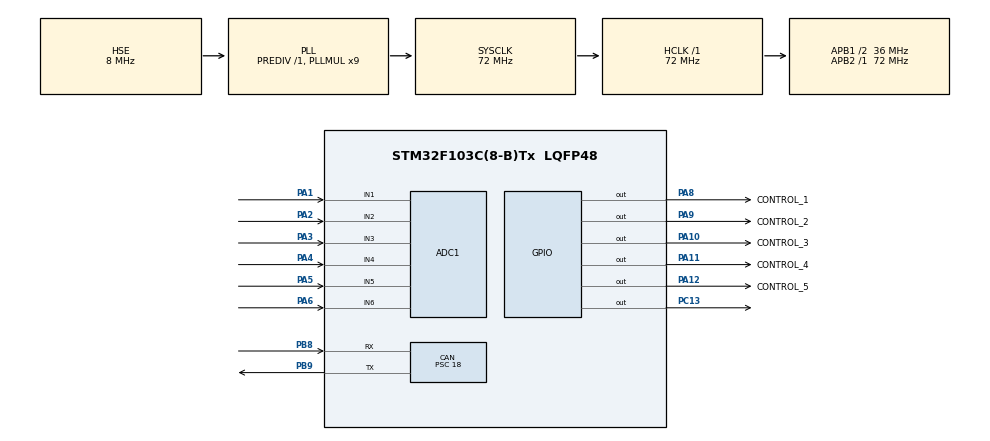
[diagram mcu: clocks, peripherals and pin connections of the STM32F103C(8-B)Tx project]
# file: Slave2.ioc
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ADC1.Channel-2\#ChannelRegularConversion=ADC_CHANNEL_1
ADC1.Channel-3\#ChannelRegularConversion=ADC_CHANNEL_2
ADC1.Channel-4\#ChannelRegularConversion=ADC_CHANNEL_3
ADC1.Channel-5\#ChannelRegularConversion=ADC_CHANNEL_4
ADC1.Channel-6\#ChannelRegularConversion=ADC_CHANNEL_5
ADC1.Channel-7\#ChannelRegularConversion=ADC_CHANNEL_6
ADC1.ContinuousConvMode=ENABLE
ADC1.NbrOfConversion=6
ADC1.NbrOfConversionFlag=1
ADC1.Rank-2\#ChannelRegularConversion=1
ADC1.Rank-3\#ChannelRegularConversion=2
ADC1.Rank-4\#ChannelRegularConversion=3
ADC1.Rank-5\#ChannelRegularConversion=4
ADC1.Rank-6\#ChannelRegularConversion=5
ADC1.Rank-7\#ChannelRegularConversion=6
ADC1.SamplingTime-2\#ChannelRegularConversion=ADC_SAMPLETIME_239CYCLES_5
ADC1.SamplingTime-3\#ChannelRegularConversion=ADC_SAMPLETIME_239CYCLES_5
ADC1.SamplingTime-4\#ChannelRegularConversion=ADC_SAMPLETIME_239CYCLES_5
ADC1.SamplingTime-5\#ChannelRegularConversion=ADC_SAMPLETIME_239CYCLES_5
ADC1.SamplingTime-6\#ChannelRegularConversion=ADC_SAMPLETIME_239CYCLES_5
ADC1.SamplingTime-7\#ChannelRegularConversion=ADC_SAMPLETIME_239CYCLES_5
ADC1.master=1
CAN.ABOM=ENABLE
CAN.BS1=CAN_BS1_13TQ
CAN.BS2=CAN_BS2_2TQ
CAN.CalculateBaudRate=125000
CAN.CalculateTimeBit=8000
CAN.CalculateTimeQuantum=500.0
CAN.NART=ENABLE
CAN.Prescaler=18
Dma.ADC1.0.Direction=DMA_PERIPH_TO_MEMORY
Dma.ADC1.0.Instance=DMA1_Channel1
Dma.ADC1.0.MemDataAlignment=DMA_MDATAALIGN_HALFWORD
Dma.ADC1.0.MemInc=DMA_MINC_ENABLE
Dma.ADC1.0.Mode=DMA_CIRCULAR
Dma.ADC1.0.PeriphDataAlignment=DMA_PDATAALIGN_HALFWORD
Dma.ADC1.0.PeriphInc=DMA_PINC_DISABLE
Dma.ADC1.0.Priority=DMA_PRIORITY_LOW
Dma.Request0=ADC1
Mcu.Family=STM32F1
Mcu.Name=STM32F103C(8-B)Tx
Mcu.Package=LQFP48
NVIC.DMA1_Channel1_IRQn=true\:0\:0\:false\:false\:true\:false\:true\:true
NVIC.PriorityGroup=NVIC_PRIORITYGROUP_4
NVIC.TIM2_IRQn=true\:0\:0\:false\:false\:true\:true\:true\:true
NVIC.USB_LP_CAN1_RX0_IRQn=true\:0\:0\:false\:false\:true\:true\:true\:true
PA1.Signal=ADCx_IN1
PA10.GPIO_Label=CONTROL_3
PA10.GPIO_PuPd=GPIO_NOPULL
PA10.Signal=GPIO_Output
PA11.GPIO_Label=CONTROL_4
PA11.GPIO_PuPd=GPIO_NOPULL
PA11.Signal=GPIO_Output
PA12.GPIO_Label=CONTROL_5
PA12.GPIO_PuPd=GPIO_NOPULL
PA12.Signal=GPIO_Output
PA13.Mode=Serial_Wire
PA13.Signal=SYS_JTMS-SWDIO
PA14.Mode=Serial_Wire
PA14.Signal=SYS_JTCK-SWCLK
PA2.Signal=ADCx_IN2
PA3.Signal=ADCx_IN3
PA4.Signal=ADCx_IN4
PA5.Signal=ADCx_IN5
PA6.Signal=ADCx_IN6
PA8.GPIO_Label=CONTROL_1
PA8.GPIO_PuPd=GPIO_NOPULL
PA8.Signal=GPIO_Output
PA9.GPIO_Label=CONTROL_2
PA9.GPIO_PuPd=GPIO_NOPULL
PA9.Signal=GPIO_Output
PB8.Mode=CAN_Activate
PB8.Signal=CAN_RX
PB9.Mode=CAN_Activate
PB9.Signal=CAN_TX
PC13-TAMPER-RTC.Signal=GPIO_Output
PD0-OSC_IN.Mode=HSE-External-Oscillator
PD0-OSC_IN.Signal=RCC_OSC_IN
PD1-OSC_OUT.Mode=HSE-External-Oscillator
PD1-OSC_OUT.Signal=RCC_OSC_OUT
ProjectManager.HeapSize=0x200
ProjectManager.StackSize=0x400
ProjectManager.TargetToolchain=MDK-ARM V5.32
RCC.ADCPresc=RCC_ADCPCLK2_DIV6
RCC.AHBFreq_Value=72000000
RCC.APB1CLKDivider=RCC_HCLK_DIV2
RCC.APB1Freq_Value=36000000
RCC.APB1TimFreq_Value=72000000
RCC.APB2Freq_Value=72000000
RCC.APB2TimFreq_Value=72000000
RCC.HCLKFreq_Value=72000000
RCC.PLLMUL=RCC_PLL_MUL9
RCC.PLLSourceVirtual=RCC_PLLSOURCE_HSE
RCC.SYSCLKFreq_VALUE=72000000
RCC.SYSCLKSource=RCC_SYSCLKSOURCE_PLLCLK
RCC.USBFreq_Value=72000000
SH.ADCx_IN1.0=ADC1_IN1,IN1
SH.ADCx_IN2.0=ADC1_IN2,IN2
SH.ADCx_IN3.0=ADC1_IN3,IN3
SH.ADCx_IN4.0=ADC1_IN4,IN4
SH.ADCx_IN5.0=ADC1_IN5,IN5
SH.ADCx_IN6.0=ADC1_IN6,IN6
TIM2.Period=199
TIM2.Prescaler=7199
VP_TIM2_VS_ClockSourceINT.Mode=Internal
board=custom

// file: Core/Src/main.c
/* USER CODE BEGIN Header */
/**
  ******************************************************************************
  * @file           : main.c
  * @brief          : Main program body
  ******************************************************************************
  * @attention
  *
  * Copyright (c) 2026 STMicroelectronics.
  * All rights reserved.
  *
  * This software is licensed under terms that can be found in the LICENSE file
  * in the root directory of this software component.
  * If no LICENSE file comes with this software, it is provided AS-IS.
  *
  ******************************************************************************
  */
/* USER CODE END Header */
#include "main.h"

/* USER CODE BEGIN Includes */
#include "math.h"

/* USER CODE END Includes */

/* USER CODE BEGIN PD */

#define CAN_ID_SLAVE1_TX        0x101U
#define CAN_ID_SLAVE2_TX        0x102U
#define CAN_ID_SLAVE3_TX        0x103U
#define CAN_ID_SLAVE1_RX        0x200U
#define CAN_ID_SLAVE2_RX        0x201U
#define CAN_ID_SLAVE3_RX        0x202U

/* USER CODE END PD */

ADC_HandleTypeDef hadc1;
DMA_HandleTypeDef hdma_adc1;

CAN_HandleTypeDef hcan;

TIM_HandleTypeDef htim2;

/* USER CODE BEGIN PV */

volatile uint8_t balance_mask = 0x00;

volatile uint16_t adc_val[7];
volatile uint8_t  adc_ready = 0;
volatile uint8_t  tim_flag  = 0;

float    temperature  = 0.0f;
uint32_t ntc_ema      = 0;
uint8_t  ntc_ema_init = 0;

uint16_t adc_buf[7];

uint16_t voltage_mV[5];
uint16_t tapVolt[5];

uint8_t bal_state[5] = {0};
uint8_t temp_cutoff  = 0;

CAN_TxHeaderTypeDef TxHeader;
uint32_t            TxMailbox;
uint8_t             TxData[8];

volatile uint32_t tx_count = 0;
volatile uint32_t can_error = 0;
volatile uint8_t  balance_enable = 1;

CAN_FilterTypeDef sFilterConfig;
CAN_RxHeaderTypeDef RxHeader;
uint8_t RxData[8];

/* CAN diagnostics */
volatile uint32_t rx_count             = 0;
volatile uint32_t error_callback_count = 0;
volatile uint8_t  last_rx_id           = 0;
volatile uint8_t  last_rx_dlc          = 0;
uint8_t           last_rx_data[8]      = {0};

uint16_t voltage_mV_f[5]  = {0};

// Per-cell calibration factors (real / measured).
// These were computed from a one-shot calibration and can be adjusted.
// Cell order: 1..5
// Updated cell 1 calibration: actual 4011mV / measured 4015mV
// Computed factor = 4011.0 / 4015.0 = 0.99900348
// Updated cell 2 calibration: actual 3992mV / measured 3975mV
// Computed factor = 3992.0 / 3975.0 = 1.004278
/* Per-cell calibration factors (real / measured) - cell1 updated from measurement */
/* Reset calibration factors to 1.0 for re-calibration start */
//float calib_factor[5] = {1.0183592f, 0.9952328f, 1.2535311f, 0.9963514f, 1.1682028f};
//////float calib_factor[5] = {1.0f, 0.990429342f, 0.969185412f, 0.991242468f, 1.02840102f};
float calib_factor[5] = {0.997676849f, 0.991999984f, 0.972432971f, 0.99048841f, 1.02329278f};

/* calibration/results storage */

/* ADC / divider constants */
#define ADC_MAX_VALUE        4095u
#define ADC_CHANNEL_COUNT    7u
#define CELL_COUNT           5u
#define ADC_FILTER_SHIFT     4u
#define CELL_FILTER_SHIFT    3u
#define SAMPLE_SKIP          4u
static uint16_t last_avg_adc[CELL_COUNT] = {0};
static uint8_t adc_filter_initialized = 0u;
static uint8_t cell_filter_initialized = 0u;
static uint16_t sample_skip_idx = 0;
static uint32_t adc_vdda_mv = 3300u;
static const uint32_t VREFINT_MV = 1200u;

/* Divider resistor values in ohms for each tap (R1 = top resistor, R2 = bottom to GND)
  Tap 1 = top of cell1, Tap 2 = top of cell2, ... Tap5 = top of cell5
  Values provided by hardware design */
static const uint32_t divider_R1[CELL_COUNT] = {100000u, 200000u, 300000u, 500000u, 860000u};
static const uint32_t divider_R2[CELL_COUNT] = {100000u, 100000u, 100000u, 100000u, 100000u};

/* USER CODE END PV */

void SystemClock_Config(void);
static void MX_GPIO_Init(void);
static void MX_DMA_Init(void);
static void MX_ADC1_Init(void);
static void MX_TIM2_Init(void);
static void MX_CAN_Init(void);

/* USER CODE BEGIN 0 */

/* Convert raw ADC value for a given tap index to tap voltage in mV */
static uint16_t adc_raw_to_tap_mv(uint16_t raw_adc, uint8_t tap_index)
{
  /* convert ADC code to measured millivolts
     use measured VREF to reduce systematic error */
  float v_adc_mv = ((float)raw_adc * (float)adc_vdda_mv) / (float)ADC_MAX_VALUE;

  /* divider multiplier = (R1 + R2) / R2 */
  float mult = ((float)divider_R1[tap_index] + (float)divider_R2[tap_index]) / (float)divider_R2[tap_index];

  float tap_mv = v_adc_mv * mult;
  if (tap_mv < 0.0f) tap_mv = 0.0f;
  if (tap_mv > 65535.0f) tap_mv = 65535.0f;
  return (uint16_t)(tap_mv + 0.5f);
}

static void update_adc_vdda_from_vrefint(uint16_t raw_vrefint)
{
  if (raw_vrefint == 0u)
    return;

  uint32_t new_vdda_mv = (uint32_t)(((uint64_t)VREFINT_MV * (uint64_t)ADC_MAX_VALUE) / (uint64_t)raw_vrefint);
  if (new_vdda_mv < 2500u || new_vdda_mv > 3600u)
    return;

  adc_vdda_mv = (adc_vdda_mv * 7u + new_vdda_mv) / 8u;
}

void HAL_ADC_ConvCpltCallback(ADC_HandleTypeDef* hadc)
{
    if (hadc->Instance == ADC1)
    {
        adc_ready = 1;
    }
}

void HAL_TIM_PeriodElapsedCallback(TIM_HandleTypeDef *htim)
{
    if (htim->Instance == TIM2)
        tim_flag = 1;
}

void calcCellVolt(void)
{
  /* compute tap voltages directly from raw ADC (mV) */
  for (uint8_t i = 0; i < CELL_COUNT; i++) {
    /* use averaged ADC value when available (otherwise 0 until filled) */
    uint16_t raw_adc = last_avg_adc[i];
    tapVolt[i] = adc_raw_to_tap_mv(raw_adc, i);
  }

  /* compute individual cell voltages by differencing consecutive taps */
  voltage_mV[0] = tapVolt[0];
  for (uint8_t i = 1; i < CELL_COUNT; i++) {
    if (tapVolt[i] > tapVolt[i - 1])
      voltage_mV[i] = tapVolt[i] - tapVolt[i - 1];
    else
      voltage_mV[i] = 0u;
  }

  /* apply calibration factors (currently 1.0) and saturate */
  for (uint8_t i = 0; i < CELL_COUNT; i++) {
    float scaled = (float)voltage_mV[i] * calib_factor[i];
    if (scaled < 0.0f) scaled = 0.0f;
    if (scaled > 65535.0f) scaled = 65535.0f;
    voltage_mV[i] = (uint16_t)(scaled + 0.5f);
  }
}

void filterVoltage(void)
{
  for (uint8_t i = 0; i < CELL_COUNT; i++) {
    if (voltage_mV[i] < 500u) {
      voltage_mV_f[i] = 0u;
      continue;
    }

    if (!cell_filter_initialized) {
      voltage_mV_f[i] = voltage_mV[i];
    } else {
      int32_t error = (int32_t)voltage_mV[i] - (int32_t)voltage_mV_f[i];
      voltage_mV_f[i] = (uint16_t)((int32_t)voltage_mV_f[i] + (error >> CELL_FILTER_SHIFT));
    }
  }
  cell_filter_initialized = 1u;
}

float NTC_GetTemperature(uint16_t adc_value)
{
    if(adc_value == 0 || adc_value >= 4095)
    {
        return -273.15f;
    }

    float vdda = (float)adc_vdda_mv / 1000.0f;
    float voltage = (float)adc_value * vdda / 4095.0f;
    float r_ntc = 10000.0f * (vdda - voltage) / voltage;

    float A = 0.001129148f;
    float B = 0.000234125f;
    float C = 0.0000000876741f;

    float lnR = logf(r_ntc);
    float temp_kelvin = 1.0f / (A + (B * lnR) + (C * lnR * lnR * lnR));

    return temp_kelvin - 273.15f;
}

void calcTemperature(void)
{
    uint16_t raw_ntc = adc_buf[5];
    if (raw_ntc == 0) return;

    static uint16_t median_buf[5] = {0};
    static uint8_t  median_idx    = 0;
    static uint8_t  median_full   = 0;

    median_buf[median_idx] = raw_ntc;
    median_idx = (median_idx + 1) % 5;
    if (median_idx == 0) median_full = 1;

    uint16_t sorted[5];
    uint8_t  count = median_full ? 5 : median_idx;
    for (int i = 0; i < count; i++)
        sorted[i] = median_buf[i];
    for (int i = 0; i < count - 1; i++)
        for (int j = 0; j < count - i - 1; j++)
            if (sorted[j] > sorted[j+1]) {
                uint16_t tmp = sorted[j];
                sorted[j]    = sorted[j+1];
                sorted[j+1]  = tmp;
            }
    uint16_t median_ntc = sorted[count / 2];

    if (!ntc_ema_init) {
        ntc_ema      = (uint32_t)median_ntc << 4;
        ntc_ema_init = 1;
        temperature  = NTC_GetTemperature(median_ntc);
        return;
    }

    uint16_t prev = (uint16_t)(ntc_ema >> 4);

		if (median_ntc < prev - 10) {
				ntc_ema = ntc_ema - (ntc_ema >> 2) + median_ntc;
		} else {
				ntc_ema = ntc_ema - (ntc_ema >> 4) + median_ntc;
		}
    uint16_t filtered_ntc = (uint16_t)(ntc_ema >> 4);
    temperature = NTC_GetTemperature(filtered_ntc);
}

void control_balance(void)
{
    const uint16_t control_PIN[5] = {
        GPIO_PIN_8, GPIO_PIN_9, GPIO_PIN_10,
        GPIO_PIN_11, GPIO_PIN_12
    };

    if (!temp_cutoff && temperature > 60.0f)
        temp_cutoff = 1;
    else if (temp_cutoff && temperature < 55.0f)
        temp_cutoff = 0;

    if (temp_cutoff || !balance_enable) {
        for (int i = 0; i < 5; i++) bal_state[i] = 0;
        HAL_GPIO_WritePin(GPIOA,
            GPIO_PIN_8|GPIO_PIN_9|GPIO_PIN_10|
            GPIO_PIN_11|GPIO_PIN_12, GPIO_PIN_RESET);
        return;
    }

    for (int i = 0; i < 5; i++) {
        uint8_t master_cmd = (balance_mask >> i) & 0x01;

        if (master_cmd)
            bal_state[i] = 1;
        else
            bal_state[i] = 0;

        HAL_GPIO_WritePin(GPIOA, control_PIN[i],
            bal_state[i] ? GPIO_PIN_SET : GPIO_PIN_RESET);
    }
}

void HAL_CAN_RxFifo0MsgPendingCallback(CAN_HandleTypeDef *hcan)
{
    HAL_CAN_GetRxMessage(hcan, CAN_RX_FIFO0, &RxHeader, RxData);
    rx_count++;
    can_error = HAL_CAN_GetError(hcan);
    last_rx_id  = RxHeader.StdId;
    last_rx_dlc = RxHeader.DLC;
    for (int i = 0; i < 8; i++) last_rx_data[i] = RxData[i];

    // Slave 2 command ID
    if (RxHeader.StdId == CAN_ID_SLAVE2_RX) {
        balance_enable = RxData[0] & 0x01;
        balance_mask   = RxData[1];
    }
    HAL_CAN_ActivateNotification(hcan, CAN_IT_RX_FIFO0_MSG_PENDING);
}

void HAL_CAN_ErrorCallback(CAN_HandleTypeDef *hcan)
{
    error_callback_count++;
    can_error = HAL_CAN_GetError(hcan);
}

/* USER CODE END 0 */

int main(void)
{

  /* MCU Configuration--------------------------------------------------------*/

  /* Reset of all peripherals, Initializes the Flash interface and the Systick. */
  HAL_Init();

  /* Configure the system clock */
  SystemClock_Config();

  /* Initialize all configured peripherals */
  MX_GPIO_Init();
  MX_DMA_Init();
  MX_ADC1_Init();
  MX_TIM2_Init();
  MX_CAN_Init();
  /* USER CODE BEGIN 2 */

  ADC1->CR2 |= ADC_CR2_TSVREFE;
  HAL_Delay(1);
  HAL_ADC_Start_DMA(&hadc1, (uint32_t*)adc_val, ADC_CHANNEL_COUNT);
	HAL_TIM_Base_Start_IT(&htim2);

	HAL_CAN_Start(&hcan);
	TxHeader.DLC   = 8;
	TxHeader.IDE   = CAN_ID_STD;
	TxHeader.RTR   = CAN_RTR_DATA;
  TxHeader.StdId = CAN_ID_SLAVE2_TX;

	sFilterConfig.FilterActivation     = CAN_FILTER_ENABLE;
	sFilterConfig.FilterFIFOAssignment = CAN_FILTER_FIFO0;
	sFilterConfig.FilterMode           = CAN_FILTERMODE_IDMASK;
  sFilterConfig.FilterIdHigh         = CAN_ID_SLAVE2_RX << 5;
	sFilterConfig.FilterIdLow          = 0;
	sFilterConfig.FilterMaskIdHigh     = 0x7FF << 5;
	sFilterConfig.FilterMaskIdLow      = 0;
	sFilterConfig.FilterScale          = CAN_FILTERSCALE_32BIT;
	sFilterConfig.FilterBank           = 0;
	HAL_CAN_ConfigFilter(&hcan, &sFilterConfig);
	HAL_CAN_ActivateNotification(&hcan, CAN_IT_RX_FIFO0_MSG_PENDING | CAN_IT_ERROR);

  /* USER CODE END 2 */

  /* Infinite loop */
  while (1)
  {

    /* USER CODE BEGIN 3 */
   if (adc_ready) {
    __disable_irq();
    for (int i = 0; i < ADC_CHANNEL_COUNT; i++)
        adc_buf[i] = adc_val[i];
    adc_ready = 0;
    __enable_irq();
  update_adc_vdda_from_vrefint(adc_buf[6]);
  /* Low-pass each tap continuously; unlike block averaging it cannot step. */
   sample_skip_idx = (sample_skip_idx + 1) % SAMPLE_SKIP;
   if (sample_skip_idx == 0) {
     for (uint8_t i = 0; i < CELL_COUNT; i++) {
       if (!adc_filter_initialized)
         last_avg_adc[i] = adc_buf[i];
       else
         last_avg_adc[i] = (uint16_t)((int32_t)last_avg_adc[i] +
             (((int32_t)adc_buf[i] - (int32_t)last_avg_adc[i]) >> ADC_FILTER_SHIFT));
     }
     adc_filter_initialized = 1u;
   }

  }

  if (tim_flag) {
    tim_flag = 0;

    calcTemperature();
    calcCellVolt();
    filterVoltage();
    control_balance();

    /* Two-frame CAN: Frame A contains 4 cells (u16 each), Frame B contains cell5 (u16),
       temperature in tenths (int16), mosfet mask (u8) and seq (u8) */
    static uint8_t seq = 0;
    uint8_t TxA[8];
    uint8_t TxB[6];

    /* Prepare cell values (mV) - use filtered calibrated values */
    uint16_t c[5];
    for (int i = 0; i < 5; i++) {
      c[i] = voltage_mV_f[i];
    }

    /* Frame A: cells 1..4 as little-endian uint16 */
    for (int i = 0; i < 4; i++) {
      TxA[2*i]   = (uint8_t)(c[i] & 0xFF);
      TxA[2*i+1] = (uint8_t)((c[i] >> 8) & 0xFF);
    }

    /* Transmit Frame A */
    TxHeader.DLC = 8;
    if (HAL_CAN_GetTxMailboxesFreeLevel(&hcan) == 0) {
      HAL_CAN_AbortTxRequest(&hcan, CAN_TX_MAILBOX0);
      HAL_CAN_AbortTxRequest(&hcan, CAN_TX_MAILBOX1);
      HAL_CAN_AbortTxRequest(&hcan, CAN_TX_MAILBOX2);
    }
    if (HAL_CAN_AddTxMessage(&hcan, &TxHeader, TxA, &TxMailbox) == HAL_OK)
      tx_count++;

    /* Frame B: cell5, temperature in tenths (int16), mask, seq */
    int16_t temp_tenths = 0;
    if (!isnan(temperature) && temperature > -1000.0f && temperature < 1000.0f)
      temp_tenths = (int16_t)(temperature * 10.0f + (temperature >= 0 ? 0.5f : -0.5f));

    TxB[0] = (uint8_t)(c[4] & 0xFF);
    TxB[1] = (uint8_t)((c[4] >> 8) & 0xFF);
    TxB[2] = (uint8_t)(temp_tenths & 0xFF);
    TxB[3] = (uint8_t)((temp_tenths >> 8) & 0xFF);
    uint8_t mosfet = 0;
    for (int i = 0; i < 5; i++) mosfet |= (bal_state[i] & 0x01) << i;
    TxB[4] = mosfet;
    TxB[5] = seq++;

    TxHeader.DLC = 6;
    if (HAL_CAN_GetTxMailboxesFreeLevel(&hcan) == 0) {
      HAL_CAN_AbortTxRequest(&hcan, CAN_TX_MAILBOX0);
      HAL_CAN_AbortTxRequest(&hcan, CAN_TX_MAILBOX1);
      HAL_CAN_AbortTxRequest(&hcan, CAN_TX_MAILBOX2);
    }
    if (HAL_CAN_AddTxMessage(&hcan, &TxHeader, TxB, &TxMailbox) == HAL_OK)
      tx_count++;

    can_error = HAL_CAN_GetError(&hcan);
    HAL_GPIO_TogglePin(GPIOC, GPIO_PIN_13);

    if (can_error & HAL_CAN_ERROR_BOF) {
      HAL_CAN_Stop(&hcan);
      HAL_CAN_Start(&hcan);
    }
}
}
  /* USER CODE END 3 */
}

void SystemClock_Config(void)
{
  RCC_OscInitTypeDef RCC_OscInitStruct = {0};
  RCC_ClkInitTypeDef RCC_ClkInitStruct = {0};
  RCC_PeriphCLKInitTypeDef PeriphClkInit = {0};

  /** Initializes the RCC Oscillators according to the specified parameters
  * in the RCC_OscInitTypeDef structure.
  */
  RCC_OscInitStruct.OscillatorType = RCC_OSCILLATORTYPE_HSE;
  RCC_OscInitStruct.HSEState = RCC_HSE_ON;
  RCC_OscInitStruct.HSEPredivValue = RCC_HSE_PREDIV_DIV1;
  RCC_OscInitStruct.HSIState = RCC_HSI_ON;
  RCC_OscInitStruct.PLL.PLLState = RCC_PLL_ON;
  RCC_OscInitStruct.PLL.PLLSource = RCC_PLLSOURCE_HSE;
  RCC_OscInitStruct.PLL.PLLMUL = RCC_PLL_MUL9;
  if (HAL_RCC_OscConfig(&RCC_OscInitStruct) != HAL_OK)
  {
    Error_Handler();
  }

  /** Initializes the CPU, AHB and APB buses clocks
  */
  RCC_ClkInitStruct.ClockType = RCC_CLOCKTYPE_HCLK|RCC_CLOCKTYPE_SYSCLK
                              |RCC_CLOCKTYPE_PCLK1|RCC_CLOCKTYPE_PCLK2;
  RCC_ClkInitStruct.SYSCLKSource = RCC_SYSCLKSOURCE_PLLCLK;
  RCC_ClkInitStruct.AHBCLKDivider = RCC_SYSCLK_DIV1;
  RCC_ClkInitStruct.APB1CLKDivider = RCC_HCLK_DIV2;
  RCC_ClkInitStruct.APB2CLKDivider = RCC_HCLK_DIV1;

  if (HAL_RCC_ClockConfig(&RCC_ClkInitStruct, FLASH_LATENCY_2) != HAL_OK)
  {
    Error_Handler();
  }
  PeriphClkInit.PeriphClockSelection = RCC_PERIPHCLK_ADC;
  PeriphClkInit.AdcClockSelection = RCC_ADCPCLK2_DIV6;
  if (HAL_RCCEx_PeriphCLKConfig(&PeriphClkInit) != HAL_OK)
  {
    Error_Handler();
  }
}

static void MX_ADC1_Init(void)
{

  ADC_ChannelConfTypeDef sConfig = {0};

  /** Common config
  */
  hadc1.Instance = ADC1;
  hadc1.Init.ScanConvMode = ADC_SCAN_ENABLE;
  hadc1.Init.ContinuousConvMode = ENABLE;
  hadc1.Init.DiscontinuousConvMode = DISABLE;
  hadc1.Init.ExternalTrigConv = ADC_SOFTWARE_START;
  hadc1.Init.DataAlign = ADC_DATAALIGN_RIGHT;
  hadc1.Init.NbrOfConversion = ADC_CHANNEL_COUNT;
  if (HAL_ADC_Init(&hadc1) != HAL_OK)
  {
    Error_Handler();
  }

  /** Configure Regular Channel
  */
  sConfig.Channel = ADC_CHANNEL_1;
  sConfig.Rank = ADC_REGULAR_RANK_1;
  sConfig.SamplingTime = ADC_SAMPLETIME_239CYCLES_5;
  if (HAL_ADC_ConfigChannel(&hadc1, &sConfig) != HAL_OK)
  {
    Error_Handler();
  }

  /** Configure Regular Channel
  */
  sConfig.Channel = ADC_CHANNEL_2;
  sConfig.Rank = ADC_REGULAR_RANK_2;
  if (HAL_ADC_ConfigChannel(&hadc1, &sConfig) != HAL_OK)
  {
    Error_Handler();
  }

  /** Configure Regular Channel
  */
  sConfig.Channel = ADC_CHANNEL_3;
  sConfig.Rank = ADC_REGULAR_RANK_3;
  if (HAL_ADC_ConfigChannel(&hadc1, &sConfig) != HAL_OK)
  {
    Error_Handler();
  }

  /** Configure Regular Channel
  */
  sConfig.Channel = ADC_CHANNEL_4;
  sConfig.Rank = ADC_REGULAR_RANK_4;
  if (HAL_ADC_ConfigChannel(&hadc1, &sConfig) != HAL_OK)
  {
    Error_Handler();
  }

  /** Configure Regular Channel
  */
  sConfig.Channel = ADC_CHANNEL_5;
  sConfig.Rank = ADC_REGULAR_RANK_5;
  if (HAL_ADC_ConfigChannel(&hadc1, &sConfig) != HAL_OK)
  {
    Error_Handler();
  }

  /** Configure Regular Channel
  */
  sConfig.Channel = ADC_CHANNEL_6;
  sConfig.Rank = ADC_REGULAR_RANK_6;
  if (HAL_ADC_ConfigChannel(&hadc1, &sConfig) != HAL_OK)
  {
    Error_Handler();
  }

  /** Configure Regular Channel
  */
  sConfig.Channel = ADC_CHANNEL_VREFINT;
  sConfig.Rank = ADC_REGULAR_RANK_7;
  sConfig.SamplingTime = ADC_SAMPLETIME_239CYCLES_5;
  if (HAL_ADC_ConfigChannel(&hadc1, &sConfig) != HAL_OK)
  {
    Error_Handler();
  }

}

static void MX_CAN_Init(void)
{

  hcan.Instance = CAN1;
  hcan.Init.Prescaler = 18;
  hcan.Init.Mode = CAN_MODE_NORMAL;
  hcan.Init.SyncJumpWidth = CAN_SJW_1TQ;
  hcan.Init.TimeSeg1 = CAN_BS1_13TQ;
  hcan.Init.TimeSeg2 = CAN_BS2_2TQ;
  hcan.Init.TimeTriggeredMode = DISABLE;
  hcan.Init.AutoBusOff = ENABLE;
  hcan.Init.AutoWakeUp = DISABLE;
  hcan.Init.AutoRetransmission = ENABLE;
  hcan.Init.ReceiveFifoLocked = DISABLE;
  hcan.Init.TransmitFifoPriority = DISABLE;
  if (HAL_CAN_Init(&hcan) != HAL_OK)
  {
    Error_Handler();
  }

}

static void MX_TIM2_Init(void)
{

  TIM_ClockConfigTypeDef sClockSourceConfig = {0};
  TIM_MasterConfigTypeDef sMasterConfig = {0};

  htim2.Instance = TIM2;
  htim2.Init.Prescaler = 7199;
  htim2.Init.CounterMode = TIM_COUNTERMODE_UP;
  htim2.Init.Period = 199;
  htim2.Init.ClockDivision = TIM_CLOCKDIVISION_DIV1;
  htim2.Init.AutoReloadPreload = TIM_AUTORELOAD_PRELOAD_DISABLE;
  if (HAL_TIM_Base_Init(&htim2) != HAL_OK)
  {
    Error_Handler();
  }
  sClockSourceConfig.ClockSource = TIM_CLOCKSOURCE_INTERNAL;
  if (HAL_TIM_ConfigClockSource(&htim2, &sClockSourceConfig) != HAL_OK)
  {
    Error_Handler();
  }
  sMasterConfig.MasterOutputTrigger = TIM_TRGO_RESET;
  sMasterConfig.MasterSlaveMode = TIM_MASTERSLAVEMODE_DISABLE;
  if (HAL_TIMEx_MasterConfigSynchronization(&htim2, &sMasterConfig) != HAL_OK)
  {
    Error_Handler();
  }

}

static void MX_DMA_Init(void)
{

  /* DMA controller clock enable */
  __HAL_RCC_DMA1_CLK_ENABLE();

  /* DMA interrupt init */
  /* DMA1_Channel1_IRQn interrupt configuration */
  HAL_NVIC_SetPriority(DMA1_Channel1_IRQn, 0, 0);
  HAL_NVIC_EnableIRQ(DMA1_Channel1_IRQn);

}

static void MX_GPIO_Init(void)
{
  GPIO_InitTypeDef GPIO_InitStruct = {0};

  /* GPIO Ports Clock Enable */
  __HAL_RCC_GPIOC_CLK_ENABLE();
  __HAL_RCC_GPIOD_CLK_ENABLE();
  __HAL_RCC_GPIOA_CLK_ENABLE();
  __HAL_RCC_GPIOB_CLK_ENABLE();

  /*Configure GPIO pin Output Level */
  HAL_GPIO_WritePin(GPIOC, GPIO_PIN_13, GPIO_PIN_RESET);

  /*Configure GPIO pin Output Level */
  HAL_GPIO_WritePin(GPIOA, CONTROL_1_Pin|CONTROL_2_Pin|CONTROL_3_Pin|CONTROL_4_Pin
                          |CONTROL_5_Pin, GPIO_PIN_RESET);

  /*Configure GPIO pin : PC13 */
  GPIO_InitStruct.Pin = GPIO_PIN_13;
  GPIO_InitStruct.Mode = GPIO_MODE_OUTPUT_PP;
  GPIO_InitStruct.Pull = GPIO_NOPULL;
  GPIO_InitStruct.Speed = GPIO_SPEED_FREQ_LOW;
  HAL_GPIO_Init(GPIOC, &GPIO_InitStruct);

  /*Configure GPIO pins : CONTROL_1_Pin CONTROL_2_Pin CONTROL_3_Pin CONTROL_4_Pin
                           CONTROL_5_Pin */
  GPIO_InitStruct.Pin = CONTROL_1_Pin|CONTROL_2_Pin|CONTROL_3_Pin|CONTROL_4_Pin
                          |CONTROL_5_Pin;
  GPIO_InitStruct.Mode = GPIO_MODE_OUTPUT_PP;
  GPIO_InitStruct.Pull = GPIO_NOPULL;
  GPIO_InitStruct.Speed = GPIO_SPEED_FREQ_LOW;
  HAL_GPIO_Init(GPIOA, &GPIO_InitStruct);

}

void Error_Handler(void)
{
  __disable_irq();
  while (1)
  {
  }
}
